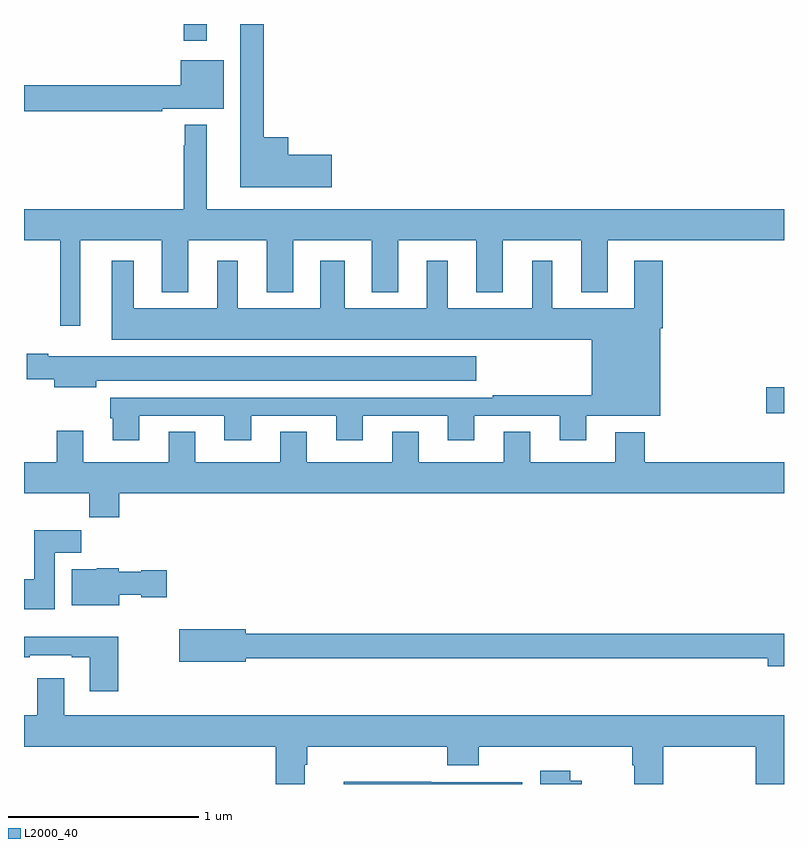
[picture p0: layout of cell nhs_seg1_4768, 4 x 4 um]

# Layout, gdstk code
import gdstk
lib = gdstk.Library(unit=1e-6, precision=1e-09)
def R(c, l, rs):  # rectangles x0, y0, x1, y1
    for r in rs: c.add(gdstk.rectangle(r[:2], r[2:], *l))
def P(c, l, *ps):  # polygons
    for p in ps: c.add(gdstk.Polygon(p, *l))
L2000_40 = (2000, 40)

nhs_seg1_4768 = lib.new_cell('nhs_seg1_4768')
R(nhs_seg1_4768, L2000_40, [(372.906,556.151,373,556.286), (369.84,558.111,369.961,558.199)])
P(nhs_seg1_4768, L2000_40, [(370.621,557.51),(370.39,557.51),(370.39,557.602),(370.261,557.602),(370.261,558.199),(370.139,558.199),(370.139,557.339),(370.621,557.339)],
  [(369.728,557.753),(370.051,557.753),(370.051,558.007),(369.824,558.007),(369.824,557.876),(369,557.876),(369,557.74),(369.728,557.74)],
  [(369.295,557.06),(369.725,557.06),(369.725,556.787),(369.865,556.787),(369.865,557.06),(370.277,557.06),(370.277,556.787),(370.417,556.787),(370.417,557.06),(370.829,557.06),(370.829,556.787),(370.969,556.787),(370.969,557.06),(371.381,557.06),(371.381,556.787),(371.521,556.787),(371.521,557.06),(371.933,557.06),(371.933,556.787),(372.073,556.787),(372.073,557.06),(373,557.06),(373,557.224),(369.961,557.224),(369.961,557.668),(369.846,557.668),(369.846,557.561),(369.84,557.561),(369.84,557.224),(369,557.224),(369,557.06),(369.191,557.06),(369.191,556.611),(369.295,556.611)],
  [(369.607,556.137),(370.055,556.137),(370.055,556.008),(370.195,556.008),(370.195,556.137),(370.643,556.137),(370.643,556.008),(370.783,556.008),(370.783,556.137),(371.231,556.137),(371.231,556.008),(371.371,556.008),(371.371,556.137),(371.819,556.137),(371.819,556.008),(371.959,556.008),(371.959,556.136),(372.349,556.136),(372.349,556.598),(372.362,556.598),(372.362,556.954),(372.212,556.954),(372.212,556.702),(371.779,556.702),(371.779,556.954),(371.675,556.954),(371.675,556.702),(371.23,556.702),(371.23,556.954),(371.12,556.954),(371.12,556.702),(370.687,556.702),(370.687,556.954),(370.559,556.954),(370.559,556.702),(370.126,556.702),(370.126,556.954),(370.016,556.954),(370.016,556.702),(369.577,556.702),(369.577,556.954),(369.461,556.954),(369.461,556.538),(371.987,556.538),(371.987,556.246),(371.467,556.246),(371.467,556.233),(369.455,556.233),(369.455,556.125),(369.467,556.125),(369.467,556.008),(369.607,556.008)],
  [(369.379,556.322),(371.38,556.322),(371.38,556.45),(369.127,556.45),(369.127,556.463),(369.015,556.463),(369.015,556.328),(369.158,556.328),(369.158,556.286),(369.379,556.286)],
  [(369.5,555.728),(373,555.728),(373,555.892),(372.266,555.892),(372.266,556.051),(372.113,556.051),(372.113,555.892),(371.665,555.892),(371.665,556.052),(371.525,556.052),(371.525,555.892),(371.077,555.892),(371.077,556.052),(370.937,556.052),(370.937,555.892),(370.489,555.892),(370.489,556.052),(370.349,556.052),(370.349,555.892),(369.901,555.892),(369.901,556.052),(369.761,556.052),(369.761,555.892),(369.313,555.892),(369.313,556.057),(369.173,556.057),(369.173,555.892),(369,555.892),(369,555.728),(369.343,555.728),(369.343,555.604),(369.5,555.604)],
  [(369.163,555.416),(369.302,555.416),(369.302,555.535),(369.053,555.535),(369.053,555.276),(369,555.276),(369,555.12),(369.163,555.12)],
  [(369.502,555.194),(369.618,555.194),(369.618,555.182),(369.751,555.182),(369.751,555.324),(369.618,555.324),(369.618,555.316),(369.498,555.316),(369.498,555.334),(369.384,555.334),(369.384,555.328),(369.251,555.328),(369.251,555.14),(369.502,555.14)],
  [(373,554.99),(370.168,554.99),(370.168,555.014),(369.816,555.014),(369.816,554.843),(370.168,554.843),(370.168,554.862),(372.914,554.862),(372.914,554.819),(373,554.819)],
  [(369.495,554.974),(369,554.974),(369,554.865),(369.031,554.865),(369.031,554.877),(369.251,554.877),(369.251,554.865),(369.347,554.865),(369.347,554.688),(369.495,554.688)],
  [(369.211,554.755),(369.071,554.755),(369.071,554.56),(369,554.56),(369,554.396),(370.325,554.396),(370.325,554.199),(370.477,554.199),(370.477,554.3),(370.49,554.3),(370.49,554.396),(371.228,554.396),(371.228,554.297),(371.393,554.297),(371.393,554.396),(372.2,554.396),(372.2,554.298),(372.212,554.298),(372.212,554.199),(372.365,554.199),(372.365,554.396),(372.851,554.396),(372.851,554.199),(373,554.199),(373,554.56),(369.211,554.56)],
  [(371.936,554.217),(371.874,554.217),(371.874,554.269),(371.718,554.269),(371.718,554.199),(371.936,554.199)],
  [(371.622,554.208),(371.144,554.208),(371.144,554.21),(370.682,554.21),(370.682,554.199),(371.622,554.199)])

lib.write_gds('nhs_seg1_4768.gds')
